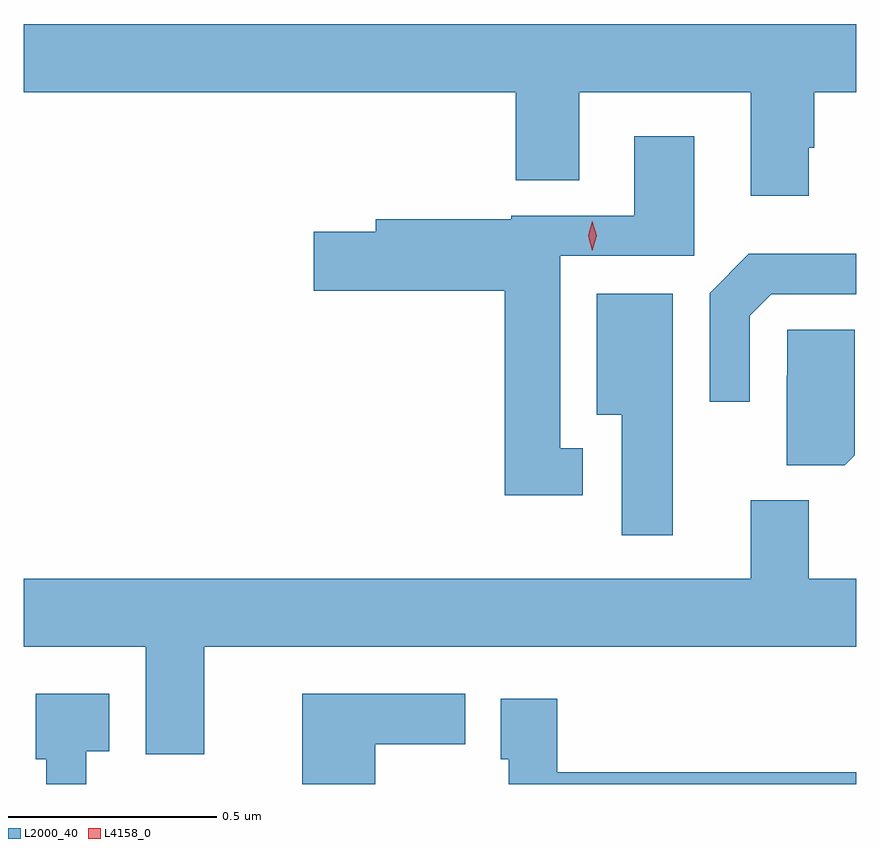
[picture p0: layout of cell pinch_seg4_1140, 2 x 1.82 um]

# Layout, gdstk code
import gdstk
lib = gdstk.Library(unit=1e-6, precision=1e-09)
def P(c, l, *ps):  # polygons
    for p in ps: c.add(gdstk.Polygon(p, *l))
L2000_40 = (2000, 40)
L4158_0 = (4158, 0)

pinch_seg4_1140 = lib.new_cell('pinch_seg4_1140')
P(pinch_seg4_1140, L2000_40, [(462.673,799.351),(462.686,799.351),(462.686,799.484),(462.787,799.484),(462.787,799.648),(460.787,799.648),(460.787,799.484),(461.969,799.484),(461.969,799.273),(462.121,799.273),(462.121,799.484),(462.533,799.484),(462.533,799.236),(462.673,799.236)],
  [(462.13,798.629),(462.076,798.629),(462.076,799.092),(462.397,799.092),(462.397,799.378),(462.254,799.378),(462.254,799.188),(461.958,799.188),(461.958,799.179),(461.633,799.179),(461.633,799.149),(461.484,799.149),(461.484,799.007),(461.942,799.007),(461.942,798.516),(462.13,798.516)],
  [(462.531,798.948),(462.582,798.999),(462.787,798.999),(462.787,799.096),(462.529,799.096),(462.435,799.002),(462.435,798.741),(462.531,798.741)],
  [(462.346,799),(462.164,799),(462.164,798.71),(462.224,798.71),(462.224,798.42),(462.346,798.42)],
  [(462.783,798.612),(462.783,798.914),(462.621,798.914),(462.621,798.803),(462.62,798.803),(462.62,798.589),(462.759,798.589)],
  [(461.221,798.152),(462.787,798.152),(462.787,798.316),(462.673,798.316),(462.673,798.504),(462.533,798.504),(462.533,798.316),(460.787,798.316),(460.787,798.152),(461.081,798.152),(461.081,797.895),(461.221,797.895)],
  [(460.938,797.902),(460.993,797.902),(460.993,798.04),(460.816,798.04),(460.816,797.883),(460.842,797.883),(460.842,797.823),(460.938,797.823)],
  [(461.632,797.918),(461.848,797.918),(461.848,798.04),(461.456,798.04),(461.456,797.823),(461.632,797.823)],
  [(462.787,797.851),(462.068,797.851),(462.068,798.028),(461.933,798.028),(461.933,797.883),(461.952,797.883),(461.952,797.823),(462.787,797.823)])
P(pinch_seg4_1140, L4158_0, [(462.153,799.103),(462.153,799.104),(462.143,799.139),(462.153,799.174),(462.153,799.174),(462.153,799.174),(462.163,799.139),(462.153,799.104)])

lib.write_gds('pinch_seg4_1140.gds')
